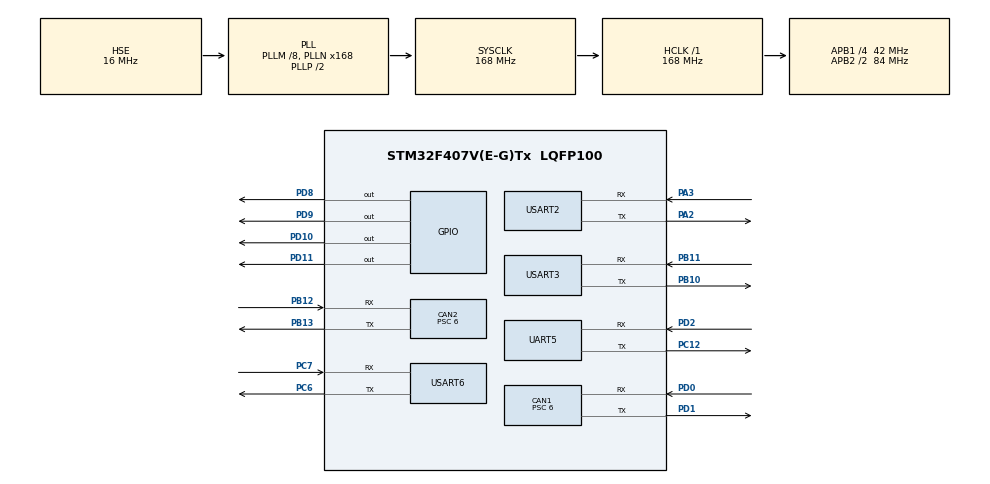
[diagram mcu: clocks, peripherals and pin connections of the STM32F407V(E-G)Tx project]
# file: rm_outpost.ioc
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CAN1.ABOM=ENABLE
CAN1.BS1=CAN_BS1_3TQ
CAN1.BS2=CAN_BS2_3TQ
CAN1.CalculateBaudRate=1000000
CAN1.CalculateTimeBit=999.99
CAN1.CalculateTimeQuantum=142.85714285714286
CAN1.Prescaler=6
CAN2.ABOM=ENABLE
CAN2.BS1=CAN_BS1_3TQ
CAN2.BS2=CAN_BS2_3TQ
CAN2.CalculateBaudRate=1000000
CAN2.CalculateTimeBit=999.99
CAN2.CalculateTimeQuantum=142.85714285714286
CAN2.Prescaler=6
Mcu.Family=STM32F4
Mcu.Name=STM32F407V(E-G)Tx
Mcu.Package=LQFP100
NVIC.CAN1_RX0_IRQn=true\:0\:0\:false\:false\:true\:true\:true
NVIC.CAN1_RX1_IRQn=true\:0\:0\:false\:false\:true\:true\:true
NVIC.CAN1_SCE_IRQn=true\:0\:0\:false\:false\:true\:true\:true
NVIC.CAN1_TX_IRQn=true\:0\:0\:false\:false\:true\:true\:true
NVIC.CAN2_RX0_IRQn=true\:0\:0\:false\:false\:true\:true\:true
NVIC.CAN2_RX1_IRQn=true\:0\:0\:false\:false\:true\:true\:true
NVIC.CAN2_SCE_IRQn=true\:0\:0\:false\:false\:true\:true\:true
NVIC.CAN2_TX_IRQn=true\:0\:0\:false\:false\:true\:true\:true
NVIC.PriorityGroup=NVIC_PRIORITYGROUP_4
PA13.Mode=Serial_Wire
PA13.Signal=SYS_JTMS-SWDIO
PA14.Mode=Serial_Wire
PA14.Signal=SYS_JTCK-SWCLK
PA2.Mode=Asynchronous
PA2.Signal=USART2_TX
PA3.Mode=Asynchronous
PA3.Signal=USART2_RX
PB10.Mode=Asynchronous
PB10.Signal=USART3_TX
PB11.Mode=Asynchronous
PB11.Signal=USART3_RX
PB12.Mode=CAN_Activate
PB12.Signal=CAN2_RX
PB13.Mode=CAN_Activate
PB13.Signal=CAN2_TX
PC12.Mode=Asynchronous
PC12.Signal=UART5_TX
PC6.Mode=Asynchronous
PC6.Signal=USART6_TX
PC7.Mode=Asynchronous
PC7.Signal=USART6_RX
PD0.Mode=CAN_Activate
PD0.Signal=CAN1_RX
PD1.Mode=CAN_Activate
PD1.Signal=CAN1_TX
PD10.Signal=GPIO_Output
PD11.Signal=GPIO_Output
PD2.Mode=Asynchronous
PD2.Signal=UART5_RX
PD8.Signal=GPIO_Output
PD9.Signal=GPIO_Output
PH0-OSC_IN.Mode=HSE-External-Oscillator
PH0-OSC_IN.Signal=RCC_OSC_IN
PH1-OSC_OUT.Mode=HSE-External-Oscillator
PH1-OSC_OUT.Signal=RCC_OSC_OUT
ProjectManager.HeapSize=0x200
ProjectManager.StackSize=0x400
ProjectManager.TargetToolchain=MDK-ARM V5
RCC.48MHZClocksFreq_Value=84000000
RCC.AHBFreq_Value=168000000
RCC.APB1CLKDivider=RCC_HCLK_DIV4
RCC.APB1Freq_Value=42000000
RCC.APB1TimFreq_Value=84000000
RCC.APB2CLKDivider=RCC_HCLK_DIV2
RCC.APB2Freq_Value=84000000
RCC.APB2TimFreq_Value=168000000
RCC.CortexFreq_Value=168000000
RCC.HCLKFreq_Value=168000000
RCC.HSE_VALUE=16000000
RCC.HSI_VALUE=16000000
RCC.LSE_VALUE=32768
RCC.PLLM=8
RCC.PLLN=168
RCC.PLLSourceVirtual=RCC_PLLSOURCE_HSE
RCC.SYSCLKFreq_VALUE=168000000
RCC.SYSCLKSource=RCC_SYSCLKSOURCE_PLLCLK
RCC.VCOOutputFreq_Value=336000000
TIM1.AutoReloadPreload=TIM_AUTORELOAD_PRELOAD_ENABLE
TIM1.Period=65535
TIM1.Prescaler=3
UART5.VirtualMode=Asynchronous
USART2.VirtualMode=VM_ASYNC
USART3.VirtualMode=VM_ASYNC
USART6.VirtualMode=VM_ASYNC
VP_TIM1_VS_ClockSourceINT.Mode=Internal
board=custom

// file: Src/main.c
/* USER CODE BEGIN Header */
/**
  ******************************************************************************
  * @file           : main.c
  * @brief          : Main program body
  ******************************************************************************
  * @attention
  *
  * <h2><center>&copy; Copyright (c) 2022 STMicroelectronics.
  * All rights reserved.</center></h2>
  *
  * This software component is licensed by ST under BSD 3-Clause license,
  * the "License"; You may not use this file except in compliance with the
  * License. You may obtain a copy of the License at:
  *                        opensource.org/licenses/BSD-3-Clause
  *
  ******************************************************************************
  */
/* USER CODE END Header */
#include "main.h"
#include "can.h"
#include "tim.h"
#include "usart.h"
#include "gpio.h"

/* USER CODE BEGIN Includes */
#include "bsp_can.h"
#include "PID.h"
#include "DataScope_DP.h"
#include "bsp_T_imu.h"
#include "ubf.h"
#include "time.h"
#include <stdio.h>
#include <stdlib.h>
/* USER CODE END Includes */

/* USER CODE BEGIN PTD */
#define RANDOM_MAX  65535
#define RANDOM_MIN  0
/* USER CODE END PTD */

void SystemClock_Config(void);
/* USER CODE BEGIN PFP */
extern CAN_RxHeaderTypeDef Rx2Message;
int flag = 0;
/* USER CODE END PFP */

int main(void)
{

  /* MCU Configuration--------------------------------------------------------*/

  /* Reset of all peripherals, Initializes the Flash interface and the Systick. */
  HAL_Init();

  /* Configure the system clock */
  SystemClock_Config();

  /* Initialize all configured peripherals */
  MX_GPIO_Init();
  MX_CAN1_Init();
  MX_CAN2_Init();
  MX_USART3_UART_Init();
  MX_USART6_UART_Init();
  MX_USART2_UART_Init();
  MX_TIM1_Init();
  MX_UART5_Init();
  /* USER CODE BEGIN 2 */
    HAL_TIM_Base_Start(&htim1);
    can_device_init();
    PID_init(&speed_pid, PID_OUTPOST_SPD_P, PID_OUTPOST_SPD_I, PID_OUTPOST_SPD_D, 25000, 4500);

  /* USER CODE END 2 */

  /* Infinite loop */
    while (1)
    {

    /* USER CODE BEGIN 3 */
		//ʵ��ǰ��վ���������ת
        if(flag == 0)
        {
            srand(__HAL_TIM_GET_COUNTER(&htim1));
            number = rand() % (RANDOM_MAX  - RANDOM_MIN) + RANDOM_MIN;
            flag++;
        }

        can1_send_message(0x1FF, PID_speed_realize(&speed_pid, SET_OUTPOST, GET_OUTPOST), 0, 0, 0);
//	    DataWave(&huart3);
        printf("%f,%f\n", speed_pid.SetSpeed, speed_pid.ActualSpeed);
//		printf("%d\n",number);
        HAL_Delay(2);
    }

  /* USER CODE END 3 */
}

void SystemClock_Config(void)
{
  RCC_OscInitTypeDef RCC_OscInitStruct = {0};
  RCC_ClkInitTypeDef RCC_ClkInitStruct = {0};

  /** Configure the main internal regulator output voltage
  */
  __HAL_RCC_PWR_CLK_ENABLE();
  __HAL_PWR_VOLTAGESCALING_CONFIG(PWR_REGULATOR_VOLTAGE_SCALE1);
  /** Initializes the RCC Oscillators according to the specified parameters
  * in the RCC_OscInitTypeDef structure.
  */
  RCC_OscInitStruct.OscillatorType = RCC_OSCILLATORTYPE_HSE;
  RCC_OscInitStruct.HSEState = RCC_HSE_ON;
  RCC_OscInitStruct.PLL.PLLState = RCC_PLL_ON;
  RCC_OscInitStruct.PLL.PLLSource = RCC_PLLSOURCE_HSE;
  RCC_OscInitStruct.PLL.PLLM = 8;
  RCC_OscInitStruct.PLL.PLLN = 168;
  RCC_OscInitStruct.PLL.PLLP = RCC_PLLP_DIV2;
  RCC_OscInitStruct.PLL.PLLQ = 4;
  if (HAL_RCC_OscConfig(&RCC_OscInitStruct) != HAL_OK)
  {
    Error_Handler();
  }
  /** Initializes the CPU, AHB and APB buses clocks
  */
  RCC_ClkInitStruct.ClockType = RCC_CLOCKTYPE_HCLK|RCC_CLOCKTYPE_SYSCLK
                              |RCC_CLOCKTYPE_PCLK1|RCC_CLOCKTYPE_PCLK2;
  RCC_ClkInitStruct.SYSCLKSource = RCC_SYSCLKSOURCE_PLLCLK;
  RCC_ClkInitStruct.AHBCLKDivider = RCC_SYSCLK_DIV1;
  RCC_ClkInitStruct.APB1CLKDivider = RCC_HCLK_DIV4;
  RCC_ClkInitStruct.APB2CLKDivider = RCC_HCLK_DIV2;

  if (HAL_RCC_ClockConfig(&RCC_ClkInitStruct, FLASH_LATENCY_5) != HAL_OK)
  {
    Error_Handler();
  }
}

/* USER CODE BEGIN 4 */
int fputc(int ch, FILE *f)
{
    UART5->DR = (uint8_t)ch;

    while((UART5->SR & 0X40) == 0);

    return ch;
}
/* USER CODE END 4 */

void Error_Handler(void)
{
}

/************************ (C) COPYRIGHT STMicroelectronics *****END OF FILE****/
